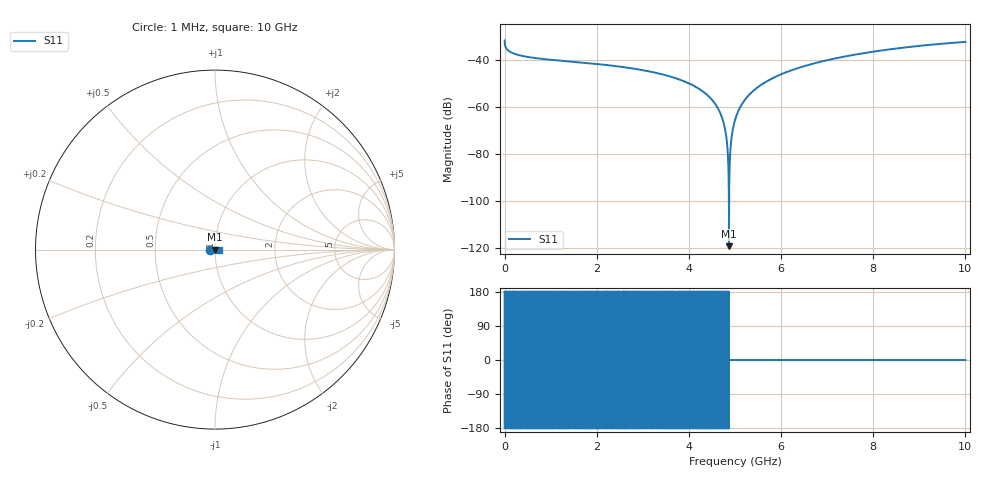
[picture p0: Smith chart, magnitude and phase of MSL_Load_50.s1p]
!Created with skrf (http://scikit-rf.org).
# MHz S RI R 50.0
!freq ReS11 ImS11
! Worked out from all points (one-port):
!   10000 points, 1 MHz to 10 GHz, reference 50 ohm
!   lowest |S11| = -119.2 dB at 4.87 GHz (marker M1), VSWR 1.00, Z = 50 - j3.97e-21 ohm
!   |S11| at or under -10 dB: start of sweep to end of sweep
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1  -0.0258 1.36e-20
83  -0.0157 8.67e-19
264  -0.013 -1.73e-18
1251  -0.00953 0
2501  -0.00717 -4.34e-19
3204  -0.00551 2.17e-19
3751  -0.00396 -1.3e-18
4237  -0.00236 0
4415  -0.00173 -4.34e-19
4556  -0.00121 0
4655  -0.000839 2.17e-19
4729  -0.000554 -5.42e-20
4776  -0.000372 -2.71e-20
4845  -0.0001 0
4870  -1.1e-06 -3.97e-23
4896  0.000103 -4.24e-22
4962  0.000368 -2.71e-20
5001  0.000526 0
5067  0.000797 1.63e-19
5153  0.00115 0
5263  0.00162 4.34e-19
5398  0.0022 -1.08e-18
5758  0.00381 -1.08e-19
6251  0.00613 8.67e-19
6815  0.0089 -8.67e-19
7501  0.0124 0
8751  0.0186 8.67e-19
10000  0.0241 0
